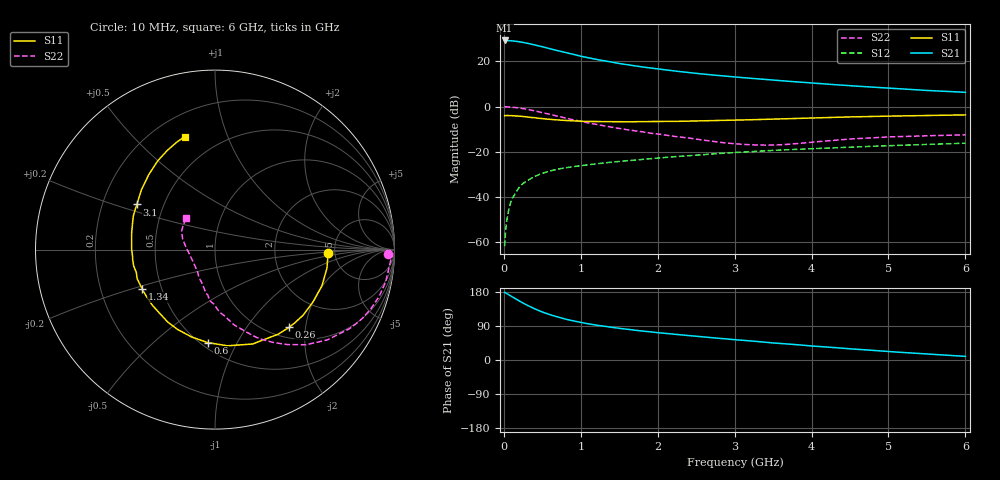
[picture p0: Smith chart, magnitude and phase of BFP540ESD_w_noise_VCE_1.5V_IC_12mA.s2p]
! Infineon Technologies  Discrete & RF Semiconductors
! BFP540ESD
! VCE =  1.5 V,  IC =  12 mA
! Common Emitter S-Parameters:  Nov 2015
# GHz  S  MA  R  50
!  f  S11  S21  S12  S22
! GHz  MAG  ANG  MAG  ANG  MAG  ANG  MAG  ANG
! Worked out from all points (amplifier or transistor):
!   210 points, 10 MHz to 6 GHz, reference 50 ohm
!   highest |S21| = 29.3 dB at 10 MHz (marker M1)
!   |S21| within 3 dB of that: start of sweep to 524.4 MHz
!   unconditionally stable (mu >= 1): 2.532 GHz to end of sweep
!   at 185 MHz: K = 0.12, MSG = 32.7 dB, |S12| = -36.6 dB
!   at 1.52 GHz: K = 0.78, MSG = 21.6 dB, |S12| = -24.3 dB
!   at 6 GHz: K = 1.15, MAG = 9.0 dB, |S12| = -16.3 dB
!   lowest NFmin = 0.93 dB at 900 MHz
!   S11 on the Smith chart (normalised r, x): 10 MHz: 4.36, -0.25; 260 MHz: 1.21, -1.63; 600 MHz: 0.54, -0.77; 1.34 GHz: 0.39, -0.22; 3.1 GHz: 0.35, +0.24; 6 GHz: 0.33, +0.71
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0.01  0.6278 -1.6  29.16 178.5  0.0008 92.7  0.9649 -1.5
0.02  0.6299 -3.9  28.97 177.8  0.0015 80.0  0.9866 -2.0
0.1  0.629 -18.7  28.65 167.6  0.0085 80.9  0.9678 -10.7
0.15  0.6193 -27.8  28.16 161.5  0.0118 79.2  0.951 -16.0
0.2  0.6121 -36.6  27.34 155.6  0.0161 77.1  0.9276 -21.1
0.26  0.5982 -46.4  26.23 149.1  0.0203 71.9  0.8941 -26.9
0.3  0.5884 -53.2  25.46 144.7  0.0225 69.3  0.8689 -30.5
0.4  0.5661 -68.3  23.27 135.1  0.028 65.3  0.8021 -38.9
0.5  0.5404 -82.6  21.19 126.6  0.033 60.4  0.7324 -46.4
0.6  0.5197 -94.5  19.07 119.4  0.0372 57.4  0.6661 -52.6
0.8  0.4913 -115.2  15.68 107.9  0.0438 52.4  0.5549 -63.5
0.9  0.4817 -123.3  14.27 103.3  0.0464 51.3  0.5089 -67.6
1.02  0.469 -132.4  12.84 98.5  0.049 50.0  0.4606 -72.3
1.2  0.4632 -144.3  11.09 92.1  0.0534 48.0  0.4012 -78.7
1.34  0.4608 -151.6  10.05 88.1  0.0569 47.4  0.3632 -83.4
1.68  0.4607 -167.7  8.081 79.1  0.0643 45.5  0.293 -94.0
2.02  0.4644 179.9  6.735 71.8  0.0723 43.9  0.244 -102.4
2.6  0.482 162.5  5.215 60.7  0.0859 41.1  0.1792 -120.2
3.1  0.503 150.0  4.376 52.1  0.0973 37.9  0.1451 -139.5
4.1  0.5626 129.7  3.231 35.7  0.1181 30.3  0.1671 172.1
5.1  0.6158 114.8  2.5 21.0  0.137 22.5  0.214 149.3
6  0.6521 105.1  2.064 9.6  0.1537 16.5  0.2354 132.5
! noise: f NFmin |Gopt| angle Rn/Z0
0.9  0.93  0.16  -133  0.11
1.8  1.11  0.2  -149  0.1
2.4  1.12  0.2  -146  0.1
3  1.24  0.25  -142  0.11
4  1.35  0.38  -110  0.17
5  1.51  0.47  -91  0.3
6  1.78  0.53  -92  0.49
